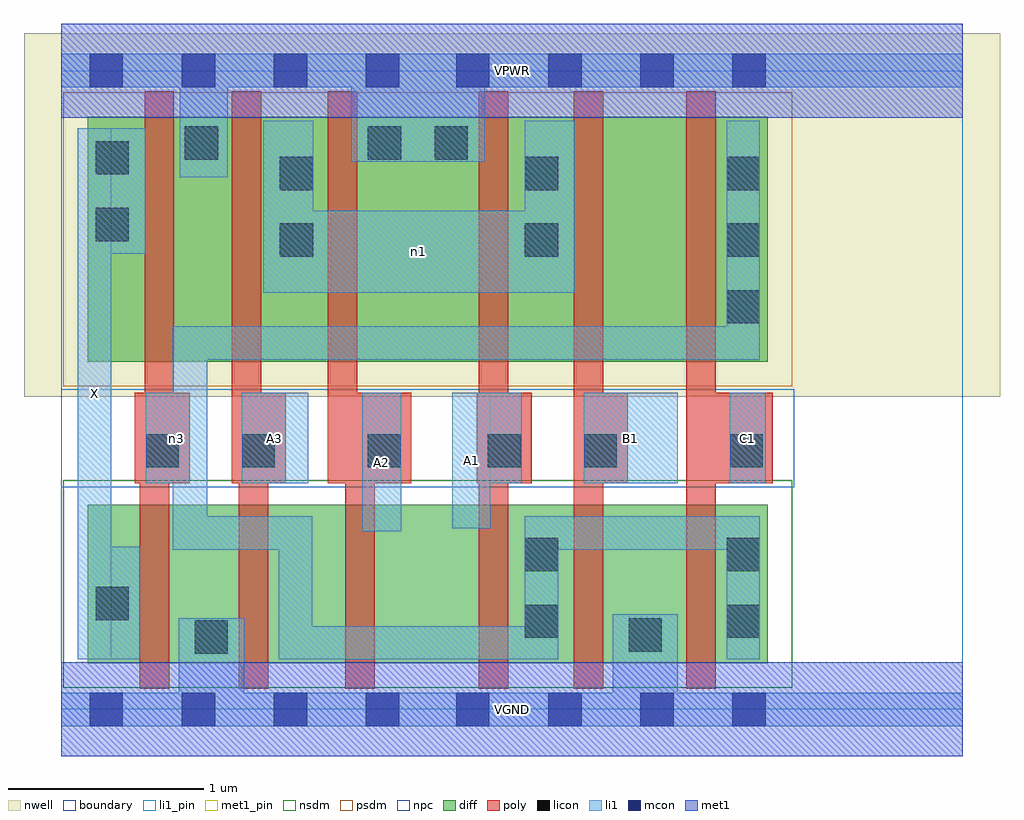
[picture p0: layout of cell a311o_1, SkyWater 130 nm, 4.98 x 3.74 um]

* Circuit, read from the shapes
.subckt a311o_1 A1 A2 A3 B1 C1 VGND VPWR X n1 n3
XM1 VGND n3 X VSUBS sky130_fd_pr__nfet_01v8 w=0.81 l=0.15
XM2 n2 A3 VGND VSUBS sky130_fd_pr__nfet_01v8 w=0.81 l=0.15
XM3 n4 A2 n2 VSUBS sky130_fd_pr__nfet_01v8 w=0.81 l=0.15
XM4 n3 A1 n4 VSUBS sky130_fd_pr__nfet_01v8 w=0.81 l=0.15
XM5 VGND B1 n3 VSUBS sky130_fd_pr__nfet_01v8 w=0.81 l=0.15
XM6 n3 C1 VGND VSUBS sky130_fd_pr__nfet_01v8 w=0.81 l=0.15
XM7 VPWR n3 X n5 sky130_fd_pr__pfet_01v8 w=1.25 l=0.15
XM8 n1 A3 VPWR n5 sky130_fd_pr__pfet_01v8 w=1.25 l=0.15
XM9 VPWR A2 n1 n5 sky130_fd_pr__pfet_01v8 w=1.25 l=0.15
XM10 n1 A1 VPWR n5 sky130_fd_pr__pfet_01v8 w=1.25 l=0.15
XM11 n6 B1 n1 n5 sky130_fd_pr__pfet_01v8 w=1.25 l=0.15
XM12 n3 C1 n6 n5 sky130_fd_pr__pfet_01v8 w=1.25 l=0.15
.ends

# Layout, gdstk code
import gdstk
lib = gdstk.Library(unit=1e-6, precision=1e-09)
def R(c, l, rs):  # rectangles x0, y0, x1, y1
    for r in rs: c.add(gdstk.rectangle(r[:2], r[2:], *l))
def A(c, l, x, y, w, h, nx, ny, dx, dy):  # array of equal rectangles
    R(c, l, [(x+i*dx, y+j*dy, x+i*dx+w, y+j*dy+h) for i in range(nx) for j in range(ny)])
nwell = (64, 20)
diff = (65, 20)
poly = (66, 20)
licon = (66, 44)
li1_pin = (67, 16)
li1 = (67, 20)
mcon = (67, 44)
met1_pin = (68, 16)
met1 = (68, 20)
nsdm = (93, 44)
psdm = (94, 20)
npc = (95, 20)
boundary = (235, 4)

a311o_1 = lib.new_cell('a311o_1')
R(a311o_1, nwell, [(-0.19,1.595,4.79,3.45), (0,1.595,4.6,3.45)])
R(a311o_1, diff, [(0.135,0.235,3.605,1.045), (0.135,1.775,3.605,3.025)])
R(a311o_1, poly, [(0.4,0.105,0.55,1.615), (0.905,0.105,1.055,1.615), (1.45,0.105,1.6,1.615), (2.13,0.105,2.28,3.155), (2.615,0.105,2.765,3.155), (3.19,0.105,3.34,3.155), (0.375,1.155,0.655,1.615), (0.425,1.155,0.575,3.155), (0.87,1.155,1.02,3.155), (0.87,1.155,1.145,1.615), (1.36,1.155,1.51,3.155), (1.36,1.155,1.785,1.615), (2.12,1.155,2.4,1.615), (2.615,1.155,2.89,1.615), (3.19,1.155,3.63,1.615)])
A(a311o_1, licon, 3.395, 1.97, 0.17, 0.17, 1, 3, 0, 0.34)
R(a311o_1, licon, [(0.68,0.285,0.85,0.455), (2.895,0.295,3.065,0.465), (2.365,0.365,2.535,0.535), (3.395,0.365,3.565,0.535), (0.175,0.455,0.345,0.625), (2.365,0.705,2.535,0.875), (3.395,0.705,3.565,0.875), (0.43,1.235,0.6,1.405), (0.92,1.235,1.09,1.405), (1.565,1.235,1.735,1.405), (2.175,1.235,2.345,1.405), (2.665,1.235,2.835,1.405), (3.41,1.235,3.58,1.405), (1.115,2.31,1.285,2.48), (2.365,2.31,2.535,2.48), (0.175,2.39,0.345,2.56), (1.115,2.65,1.285,2.82), (2.365,2.65,2.535,2.82), (0.175,2.73,0.345,2.9), (0.63,2.805,0.8,2.975), (1.565,2.805,1.735,2.975), (1.905,2.805,2.075,2.975)])
R(a311o_1, li1_pin, [(0.085,0.255,0.255,2.965), (1.535,0.91,1.735,1.615), (1.995,0.925,2.19,1.615), (0.92,1.155,1.26,1.615), (2.665,1.155,3.145,1.615), (3.41,1.155,3.595,1.615)])
R(a311o_1, li1, [(0,-0.085,4.6,0.085), (0.6,-0.085,0.935,0.465), (2.815,-0.085,3.145,0.485), (0.085,0.255,0.255,2.965), (0.085,0.255,0.4,0.83), (1.11,0.255,2.535,0.425), (1.11,0.255,1.28,0.985), (2.365,0.255,2.535,0.985), (3.395,0.255,3.565,0.985), (0.57,0.815,0.745,1.955), (0.57,0.815,1.28,0.985), (2.365,0.815,3.565,0.985), (1.535,0.91,1.735,1.615), (1.995,0.925,2.19,1.615), (0.43,1.155,0.745,1.615), (0.92,1.155,1.26,1.615), (1.995,1.155,2.35,1.615), (2.665,1.155,3.145,1.615), (3.41,1.155,3.595,1.615), (0.57,1.785,3.565,1.955), (3.395,1.785,3.565,3.005), (1.03,2.125,2.62,2.545), (1.03,2.125,1.285,3.005), (2.365,2.125,2.62,3.005), (0.085,2.325,0.43,2.965), (0.605,2.715,0.85,3.345), (1.48,2.795,2.16,3.345), (0,3.175,4.6,3.345)])
A(a311o_1, mcon, 0.145, -0.085, 0.17, 0.17, 4, 2, 0.47, 3.26)
A(a311o_1, mcon, 2.015, -0.085, 0.17, 0.17, 4, 2, 0.47, 3.26)
R(a311o_1, met1_pin, [(0,-0.24,4.6,0.24), (0,3.02,4.6,3.5)])
R(a311o_1, met1, [(0,-0.24,4.6,0.24), (0,3.02,4.6,3.5)])
R(a311o_1, nsdm, [(0.01,0.11,3.73,1.17)])
R(a311o_1, psdm, [(0.01,1.65,3.73,3.15)])
R(a311o_1, npc, [(0,1.135,3.74,1.635)])
R(a311o_1, boundary, [(0,0,4.6,3.26)])
a311o_1.add(gdstk.Label('A1', (2.092,1.27), layer=67, texttype=5))
a311o_1.add(gdstk.Label('A2', (1.635,1.262), layer=67, texttype=5))
a311o_1.add(gdstk.Label('A3', (1.09,1.385), layer=67, texttype=5))
a311o_1.add(gdstk.Label('B1', (2.905,1.385), layer=67, texttype=5))
a311o_1.add(gdstk.Label('C1', (3.502,1.385), layer=67, texttype=5))
a311o_1.add(gdstk.Label('X', (0.17,1.61), layer=67, texttype=5))
a311o_1.add(gdstk.Label('n1', (1.825,2.335), layer=67, texttype=5))
a311o_1.add(gdstk.Label('n3', (0.587,1.385), layer=67, texttype=5))
a311o_1.add(gdstk.Label('VPWR', (2.3,3.26), layer=68, texttype=5))
a311o_1.add(gdstk.Label('VGND', (2.3,0), layer=68, texttype=5))
a311o_1.add(gdstk.Label('A1', (2.092,1.27), layer=67, texttype=16))
a311o_1.add(gdstk.Label('A2', (1.635,1.262), layer=67, texttype=16))
a311o_1.add(gdstk.Label('A3', (1.09,1.385), layer=67, texttype=16))
a311o_1.add(gdstk.Label('B1', (2.905,1.385), layer=67, texttype=16))
a311o_1.add(gdstk.Label('C1', (3.502,1.385), layer=67, texttype=16))
a311o_1.add(gdstk.Label('X', (0.17,1.61), layer=67, texttype=16))
a311o_1.add(gdstk.Label('VPWR', (2.3,3.26), layer=68, texttype=16))
a311o_1.add(gdstk.Label('VGND', (2.3,0), layer=68, texttype=16))

lib.write_gds('a311o_1.gds')
